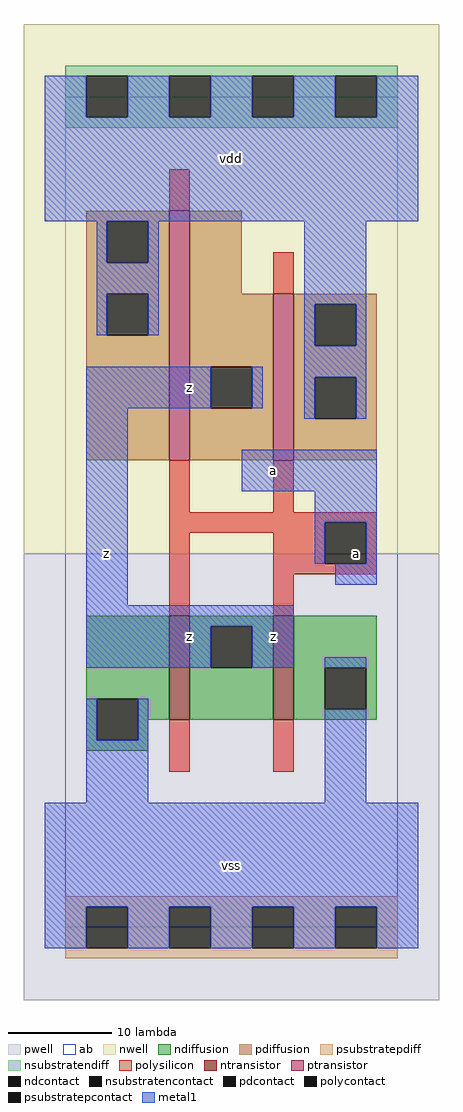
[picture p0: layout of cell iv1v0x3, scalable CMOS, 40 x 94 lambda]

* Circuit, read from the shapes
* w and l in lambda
.subckt iv1v0x3 a vdd vss z
M1 z a vss vss nfet w=10 l=2 m=2
M2 z a vdd vdd pfet w=24 l=2
M3 vdd a z vdd pfet w=16 l=2
.ends

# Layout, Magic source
magic
tech scmos
<< ab >>
rect 0 0 32 80
<< pwell >>
rect -4 -7 36 36
<< nwell >>
rect -4 36 36 87
<< polysilicon >>
rect 10 69 12 73
rect 20 61 22 65
rect 10 40 12 45
rect 20 40 22 45
rect 10 39 30 40
rect 10 38 25 39
rect 10 30 12 38
rect 20 35 25 38
rect 29 35 30 39
rect 20 34 30 35
rect 20 30 22 34
rect 10 15 12 20
rect 20 15 22 20
<< ndiffusion >>
rect 2 22 10 30
rect 2 18 3 22
rect 7 20 10 22
rect 12 29 20 30
rect 12 25 14 29
rect 18 25 20 29
rect 12 20 20 25
rect 22 25 30 30
rect 22 21 25 25
rect 29 21 30 25
rect 22 20 30 21
rect 7 18 8 20
rect 2 17 8 18
<< pdiffusion >>
rect 2 68 10 69
rect 2 64 4 68
rect 8 64 10 68
rect 2 61 10 64
rect 2 57 4 61
rect 8 57 10 61
rect 2 45 10 57
rect 12 61 17 69
rect 12 54 20 61
rect 12 50 14 54
rect 18 50 20 54
rect 12 45 20 50
rect 22 60 30 61
rect 22 56 24 60
rect 28 56 30 60
rect 22 53 30 56
rect 22 49 24 53
rect 28 49 30 53
rect 22 45 30 49
<< metal1 >>
rect -2 78 2 82
rect 6 78 10 82
rect 14 78 18 82
rect 22 78 26 82
rect 30 78 34 82
rect -2 68 34 78
rect 3 64 4 68
rect 8 64 9 68
rect 3 61 9 64
rect 3 57 4 61
rect 8 57 9 61
rect 23 60 29 68
rect 23 56 24 60
rect 28 56 29 60
rect 2 50 14 54
rect 18 50 19 54
rect 23 53 29 56
rect 2 31 6 50
rect 23 49 24 53
rect 28 49 29 53
rect 17 42 30 46
rect 24 39 30 42
rect 24 35 25 39
rect 29 35 30 39
rect 26 33 30 35
rect 2 29 22 31
rect 2 25 14 29
rect 18 25 22 29
rect 25 25 29 26
rect 2 18 3 22
rect 7 18 8 22
rect 2 12 8 18
rect 25 12 29 21
rect -2 2 34 12
rect -2 -2 2 2
rect 6 -2 10 2
rect 14 -2 18 2
rect 22 -2 26 2
rect 30 -2 34 2
<< ntransistor >>
rect 10 20 12 30
rect 20 20 22 30
<< ptransistor >>
rect 10 45 12 69
rect 20 45 22 61
<< polycontact >>
rect 25 35 29 39
<< ndcontact >>
rect 3 18 7 22
rect 14 25 18 29
rect 25 21 29 25
<< pdcontact >>
rect 4 64 8 68
rect 4 57 8 61
rect 14 50 18 54
rect 24 56 28 60
rect 24 49 28 53
<< psubstratepcontact >>
rect 2 -2 6 2
rect 10 -2 14 2
rect 18 -2 22 2
rect 26 -2 30 2
<< nsubstratencontact >>
rect 2 78 6 82
rect 10 78 14 82
rect 18 78 22 82
rect 26 78 30 82
<< psubstratepdiff >>
rect 0 2 32 3
rect 0 -2 2 2
rect 6 -2 10 2
rect 14 -2 18 2
rect 22 -2 26 2
rect 30 -2 32 2
rect 0 -3 32 -2
<< nsubstratendiff >>
rect 0 82 32 83
rect 0 78 2 82
rect 6 78 10 82
rect 14 78 18 82
rect 22 78 26 82
rect 30 78 32 82
rect 0 77 32 78
<< labels >>
rlabel metal1 4 36 4 36 6 z
rlabel metal1 12 28 12 28 6 z
rlabel metal1 12 52 12 52 6 z
rlabel metal1 16 6 16 6 6 vss
rlabel metal1 20 28 20 28 6 z
rlabel metal1 20 44 20 44 6 a
rlabel metal1 16 74 16 74 6 vdd
rlabel polycontact 28 36 28 36 6 a
<< end >>
